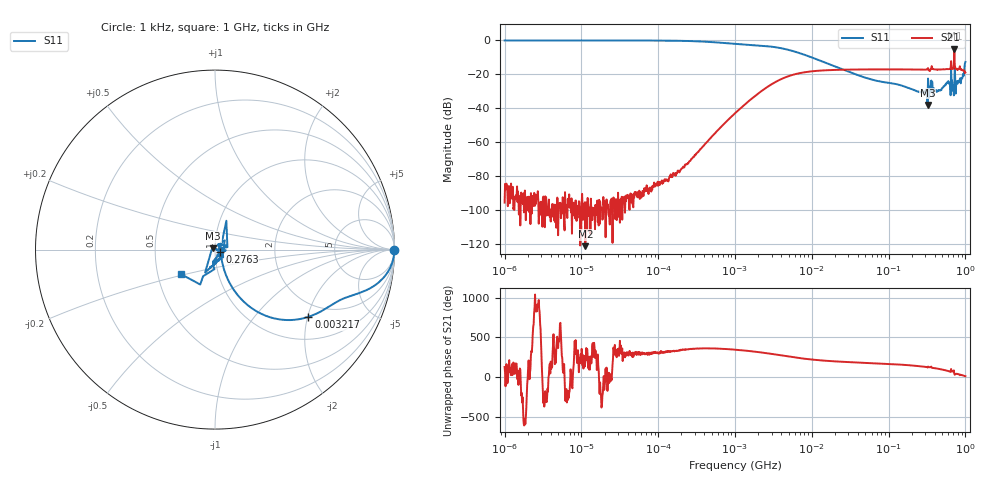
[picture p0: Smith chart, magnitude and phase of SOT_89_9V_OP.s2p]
! ListType=Log
# MHZ S RI R 50
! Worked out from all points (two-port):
!   1000 points, 1 kHz to 1 GHz, reference 50 ohm
!   highest |S21| = -4.77 dB at 717.6 MHz (marker M1); lowest = -121.3 dB at 11.25 kHz (marker M2)
!   |S21| within 3 dB of the highest: 714.2 MHz to 720.6 MHz (6.336 MHz wide, 0.883 % of centre)
!   lowest |S11| = -38.0 dB at 321.7 MHz (marker M3), VSWR 1.03, Z = 49 + j0.729 ohm
!   |S11| at or under -10 dB: 9.974 MHz to end of sweep
!   S12 and S22 are empty: the file has one direction only
!   S11 on the Smith chart (normalised r, x): 1 kHz: open; 3.217 MHz: 1.59, -2.02; 276.3 MHz: 1.05, -0.03; 1 GHz: 0.66, -0.19
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0.001  0.9997 0.000105  -1.04e-05 1.29e-05  0 0  0 0
0.0100694  0.999 -0.00646  1.41e-05 -9e-07  0 0  0 0
0.0112474  0.999 -0.00716  -7e-07 -5e-07  0 0  0 0
0.1013925  0.9905 -0.0631  2.54e-05 -5.19e-05  0 0  0 0
0.1432703  0.9822 -0.087  7.05e-05 -6.26e-05  0 0  0 0
0.1812418  0.9729 -0.1074  0.000131 -6.56e-05  0 0  0 0
1.006939  0.7527 -0.2587  0.00702 -0.00178  0 0  0 0
1.902301  0.6507 -0.3083  0.0188 -0.0164  0 0  0 0
3.217418  0.5202 -0.3749  0.0178 -0.0533  0 0  0 0
5.441714  0.3233 -0.3816  -0.0255 -0.0911  0 0  0 0
10.13925  0.1459 -0.2756  -0.0921 -0.0822  0 0  0 0
47.06225  0.0404 -0.073  -0.1397 -0.00451  0 0  0 0
100.6939  0.0338 -0.045  -0.1374 0.0312  0 0  0 0
276.3385  0.0254 -0.0138  -0.0971 0.0976  0 0  0 0
321.7418  -0.0101 0.00743  -0.0774 0.1231  0 0  0 0
349.5776  0.0359 -0.0161  -0.0823 0.1073  0 0  0 0
407.0142  0.0338 -0.000943  -0.0538 0.1286  0 0  0 0
454.6295  0.0309 -0.0124  -0.0349 0.1351  0 0  0 0
583.1305  0.0416 -0.0381  0.0226 0.141  0 0  0 0
717.5561  0.036 0.0291  0.4256 0.3902  0 0  0 0
895.2657  -0.0118 -0.0767  0.1211 0.0631  0 0  0 0
1000  -0.187 -0.1381  0.1103 0.0249  0 0  0 0
